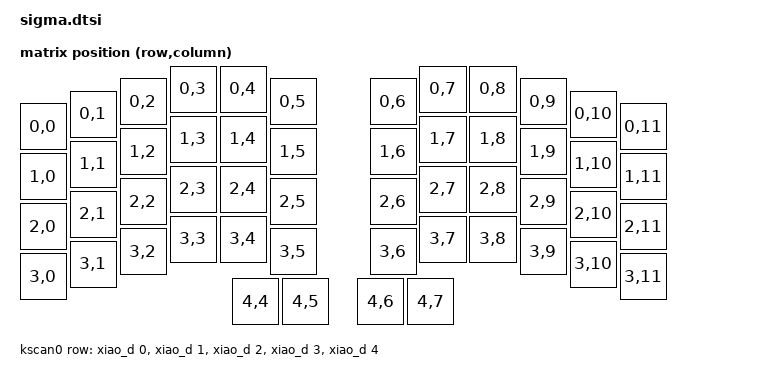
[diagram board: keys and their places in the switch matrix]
#include <dt-bindings/zmk/matrix_transform.h>
#include <physical_layouts.dtsi>

/ {
    aliases {
        led-red = &led0;
        led-green = &led1;
        led-blue = &led2;
    };

    chosen {
        zmk,kscan = &kscan0;
        zmk,physical-layout = &physical_layout0;
    };

    kscan0: kscan0 {
        compatible = "zmk,kscan-gpio-matrix";
        diode-direction = "col2row";
        wakeup-source;

        row-gpios
            = <&xiao_d 0 (GPIO_ACTIVE_HIGH | GPIO_PULL_DOWN)>
            , <&xiao_d 1 (GPIO_ACTIVE_HIGH | GPIO_PULL_DOWN)>
            , <&xiao_d 2 (GPIO_ACTIVE_HIGH | GPIO_PULL_DOWN)>
            , <&xiao_d 3 (GPIO_ACTIVE_HIGH | GPIO_PULL_DOWN)>
            , <&xiao_d 4 (GPIO_ACTIVE_HIGH | GPIO_PULL_DOWN)>
            ;

    };

    default_transform: default_transform {
        compatible = "zmk,matrix-transform";
        columns = <12>;
        rows = <5>;

        map = <
            RC(0,0) RC(0,1) RC(0,2) RC(0,3) RC(0,4) RC(0,5)    RC(0,6) RC(0,7) RC(0,8) RC(0,9) RC(0,10) RC(0,11)
            RC(1,0) RC(1,1) RC(1,2) RC(1,3) RC(1,4) RC(1,5)    RC(1,6) RC(1,7) RC(1,8) RC(1,9) RC(1,10) RC(1,11)
            RC(2,0) RC(2,1) RC(2,2) RC(2,3) RC(2,4) RC(2,5)    RC(2,6) RC(2,7) RC(2,8) RC(2,9) RC(2,10) RC(2,11)
            RC(3,0) RC(3,1) RC(3,2) RC(3,3) RC(3,4) RC(3,5)    RC(3,6) RC(3,7) RC(3,8) RC(3,9) RC(3,10) RC(3,11)
                                            RC(4,4) RC(4,5)    RC(4,6) RC(4,7)
            >;
    };

    physical_layout0: physical_layout_0 {
        compatible = "zmk,physical-layout";
        display-name = "Sigma Layout";
        transform = <&default_transform>;
        kscan = <&kscan0>;

        keys                     //  w   h    x    y  rot  rx  ry
            // Left Row 0
            = <&key_physical_attrs 100 100    0   75    0   0   0>
            , <&key_physical_attrs 100 100  100   50    0   0   0>
            , <&key_physical_attrs 100 100  200   25    0   0   0>
            , <&key_physical_attrs 100 100  300    0    0   0   0>
            , <&key_physical_attrs 100 100  400    0    0   0   0>
            , <&key_physical_attrs 100 100  500   25    0   0   0>
            // Right Row 0
            , <&key_physical_attrs 100 100  700   25    0   0   0>
            , <&key_physical_attrs 100 100  800    0    0   0   0>
            , <&key_physical_attrs 100 100  900    0    0   0   0>
            , <&key_physical_attrs 100 100 1000   25    0   0   0>
            , <&key_physical_attrs 100 100 1100   50    0   0   0>
            , <&key_physical_attrs 100 100 1200   75    0   0   0>

            // Left Row 1
            , <&key_physical_attrs 100 100    0  175    0   0   0>
            , <&key_physical_attrs 100 100  100  150    0   0   0>
            , <&key_physical_attrs 100 100  200  125    0   0   0>
            , <&key_physical_attrs 100 100  300  100    0   0   0>
            , <&key_physical_attrs 100 100  400  100    0   0   0>
            , <&key_physical_attrs 100 100  500  125    0   0   0>
            // Right Row 1
            , <&key_physical_attrs 100 100  700  125    0   0   0>
            , <&key_physical_attrs 100 100  800  100    0   0   0>
            , <&key_physical_attrs 100 100  900  100    0   0   0>
            , <&key_physical_attrs 100 100 1000  125    0   0   0>
            , <&key_physical_attrs 100 100 1100  150    0   0   0>
            , <&key_physical_attrs 100 100 1200  175    0   0   0>

            // Left Row 2
            , <&key_physical_attrs 100 100    0  275    0   0   0>
            , <&key_physical_attrs 100 100  100  250    0   0   0>
            , <&key_physical_attrs 100 100  200  225    0   0   0>
            , <&key_physical_attrs 100 100  300  200    0   0   0>
            , <&key_physical_attrs 100 100  400  200    0   0   0>
            , <&key_physical_attrs 100 100  500  225    0   0   0>
            // Right Row 2
            , <&key_physical_attrs 100 100  700  225    0   0   0>
            , <&key_physical_attrs 100 100  800  200    0   0   0>
            , <&key_physical_attrs 100 100  900  200    0   0   0>
            , <&key_physical_attrs 100 100 1000  225    0   0   0>
            , <&key_physical_attrs 100 100 1100  250    0   0   0>
            , <&key_physical_attrs 100 100 1200  275    0   0   0>

            // Left Row 3
            , <&key_physical_attrs 100 100    0  375    0   0   0>
            , <&key_physical_attrs 100 100  100  350    0   0   0>
            , <&key_physical_attrs 100 100  200  325    0   0   0>
            , <&key_physical_attrs 100 100  300  300    0   0   0>
            , <&key_physical_attrs 100 100  400  300    0   0   0>
            , <&key_physical_attrs 100 100  500  325    0   0   0>
            // Right Row 3
            , <&key_physical_attrs 100 100  700  325    0   0   0>
            , <&key_physical_attrs 100 100  800  300    0   0   0>
            , <&key_physical_attrs 100 100  900  300    0   0   0>
            , <&key_physical_attrs 100 100 1000  325    0   0   0>
            , <&key_physical_attrs 100 100 1100  350    0   0   0>
            , <&key_physical_attrs 100 100 1200  375    0   0   0>

            // Left Thumbs
            , <&key_physical_attrs 100 100  425  425    0   0   0>
            , <&key_physical_attrs 100 100  525  425    0   0   0>
            // Right Thumbs
            , <&key_physical_attrs 100 100  675  425    0   0   0>
            , <&key_physical_attrs 100 100  775  425    0   0   0>
            ;
    };
};

&xiao_spi { status = "disabled"; };
&xiao_i2c { status = "disabled"; };
&xiao_serial { status = "disabled"; };
